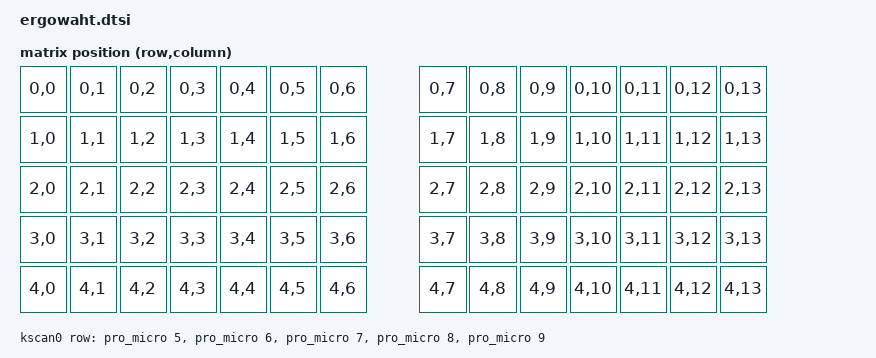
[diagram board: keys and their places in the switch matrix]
// nice!nano  |  pro micro
//   006      |      1
//   008      |      0
//   017      |     2
//   020      |     3
//   022      |     4
//   024      |     5
//   100      |     6
//   011      |     7
//   104      |     8
//   106      |     9 
//   009      |    10
//   010      |    16
//   111      |    14
//   113      |    15
//   115      |    18
//   002      |    19
//   029      |    20
//   031      |    21

#include <dt-bindings/zmk/matrix_transform.h> // Put this with the other includes at the top of your dtsi

/ {
    chosen {
        zmk,physical-layout = &default_layout;
        // Other chosen items
    };
};

/ {
    default_transform: keymap_transform0 {
        compatible = "zmk,matrix-transform";
        columns = <14>;
        rows = <5>;
// | SW7  | SW6  | SW5  | SW4  | SW3  | SW2  | SW1  |              | SW1  | SW2  | SW3  | SW4  | SW5  | SW6  | SW7  |
// | SW14 | SW13 | SW12 | SW11 | SW10 | SW9  | SW8  |              | SW8  | SW9  | SW10 | SW11 | SW12 | SW13 | SW14 |
// | SW21 | SW20 | SW19 | SW18 | SW17 | SW16 | SW15 |              | SW15 | SW16 | SW17 | SW18 | SW19 | SW20 | SW21 |
// | SW28 | SW27 | SW26 | SW25 | SW24 | SW23 | SW22 |              | SW22 | SW23 | SW24 | SW25 | SW26 | SW27 | SW28 |
// | SW35 | SW34 | SW33 | SW32 | SW31 | SW30 | SW29 |              | SW29 | SW30 | SW31 | SW32 | SW33 | SW34 | SW35 |

        map = <
//  LKey 1 |LKey 2 |LKey 3                                          RKey 1 |RKey 2 |RKey 3
RC(0,0) RC(0,1) RC(0,2) RC(0,3) RC(0,4) RC(0,5) RC(0,6)             RC(0,7) RC(0,8) RC(0,9) RC(0,10) RC(0,11) RC(0,12) RC(0,13)
RC(1,0) RC(1,1) RC(1,2) RC(1,3) RC(1,4) RC(1,5) RC(1,6)             RC(1,7) RC(1,8) RC(1,9) RC(1,10) RC(1,11) RC(1,12) RC(1,13)
RC(2,0) RC(2,1) RC(2,2) RC(2,3) RC(2,4) RC(2,5) RC(2,6)             RC(2,7) RC(2,8) RC(2,9) RC(2,10) RC(2,11) RC(2,12) RC(2,13)
RC(3,0) RC(3,1) RC(3,2) RC(3,3) RC(3,4) RC(3,5) RC(3,6)             RC(3,7) RC(3,8) RC(3,9) RC(3,10) RC(3,11) RC(3,12) RC(3,13)
RC(4,0) RC(4,1) RC(4,2) RC(4,3) RC(4,4) RC(4,5) RC(4,6)             RC(4,7) RC(4,8) RC(4,9) RC(4,10) RC(4,11) RC(4,12) RC(4,13)
        >;
    };
};

/ {
    kscan0: kscan0 {
        compatible = "zmk,kscan-gpio-matrix";
        diode-direction = "col2row";
        wakeup-source;

        row-gpios
            = <&pro_micro 5 (GPIO_ACTIVE_HIGH | GPIO_PULL_DOWN)> // num row
            , <&pro_micro 6 (GPIO_ACTIVE_HIGH | GPIO_PULL_DOWN)> // top row
            , <&pro_micro 7 (GPIO_ACTIVE_HIGH | GPIO_PULL_DOWN)> // home row
            , <&pro_micro 8 (GPIO_ACTIVE_HIGH | GPIO_PULL_DOWN)> // bottomw row
            , <&pro_micro 9 (GPIO_ACTIVE_HIGH | GPIO_PULL_DOWN)> // mod row
            ;

    };
};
